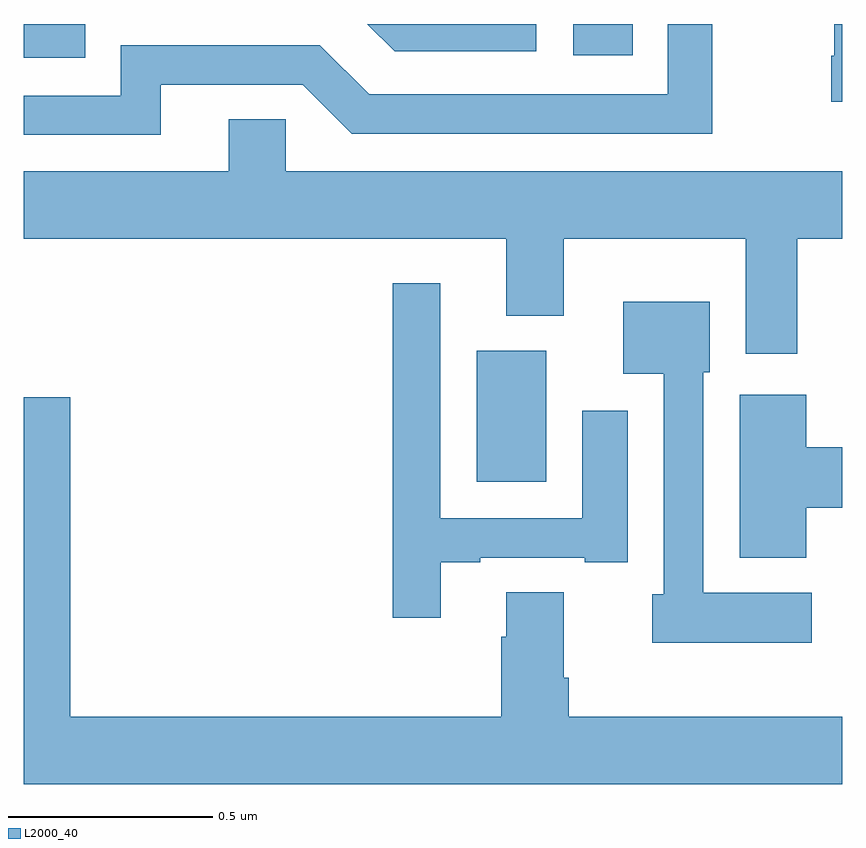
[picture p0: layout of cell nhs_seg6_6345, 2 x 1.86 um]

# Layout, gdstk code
import gdstk
lib = gdstk.Library(unit=1e-6, precision=1e-09)
def R(c, l, rs):  # rectangles x0, y0, x1, y1
    for r in rs: c.add(gdstk.rectangle(r[:2], r[2:], *l))
def P(c, l, *ps):  # polygons
    for p in ps: c.add(gdstk.Polygon(p, *l))
L2000_40 = (2000, 40)

nhs_seg6_6345 = lib.new_cell('nhs_seg6_6345')
R(nhs_seg6_6345, L2000_40, [(195.107,973.382,195.277,973.702), (194,974.417,194.151,974.5), (195.342,974.424,195.488,974.5)])
P(nhs_seg6_6345, L2000_40, [(196,974.5),(195.98,974.5),(195.98,974.422),(195.973,974.422),(195.973,974.31),(196,974.31)],
  [(194.335,974.352),(194.682,974.352),(194.802,974.232),(195.682,974.232),(195.682,974.5),(195.573,974.5),(195.573,974.328),(194.844,974.328),(194.724,974.448),(194.238,974.448),(194.238,974.325),(194,974.325),(194,974.229),(194.335,974.229)],
  [(195.252,974.5),(194.839,974.5),(194.906,974.433),(195.252,974.433)],
  [(195.89,973.976),(196,973.976),(196,974.14),(194.64,974.14),(194.64,974.267),(194.501,974.267),(194.501,974.14),(194,974.14),(194,973.976),(195.179,973.976),(195.179,973.787),(195.319,973.787),(195.319,973.976),(195.764,973.976),(195.764,973.695),(195.89,973.695)],
  [(195.019,973.185),(195.115,973.185),(195.115,973.197),(195.371,973.197),(195.371,973.185),(195.475,973.185),(195.475,973.555),(195.365,973.555),(195.365,973.293),(195.018,973.293),(195.018,973.867),(194.902,973.867),(194.902,973.05),(195.019,973.05)],
  [(195.925,973.111),(195.66,973.111),(195.66,973.65),(195.676,973.65),(195.676,973.822),(195.464,973.822),(195.464,973.646),(195.564,973.646),(195.564,973.107),(195.536,973.107),(195.536,972.989),(195.925,972.989)],
  [(195.911,973.319),(196,973.319),(196,973.466),(195.911,973.466),(195.911,973.594),(195.749,973.594),(195.749,973.196),(195.911,973.196)],
  [(196,972.808),(195.332,972.808),(195.332,972.904),(195.319,972.904),(195.319,973.112),(195.179,973.112),(195.179,973.004),(195.167,973.004),(195.167,972.808),(194.114,972.808),(194.114,973.588),(194,973.588),(194,972.644),(196,972.644)])

lib.write_gds('nhs_seg6_6345.gds')
